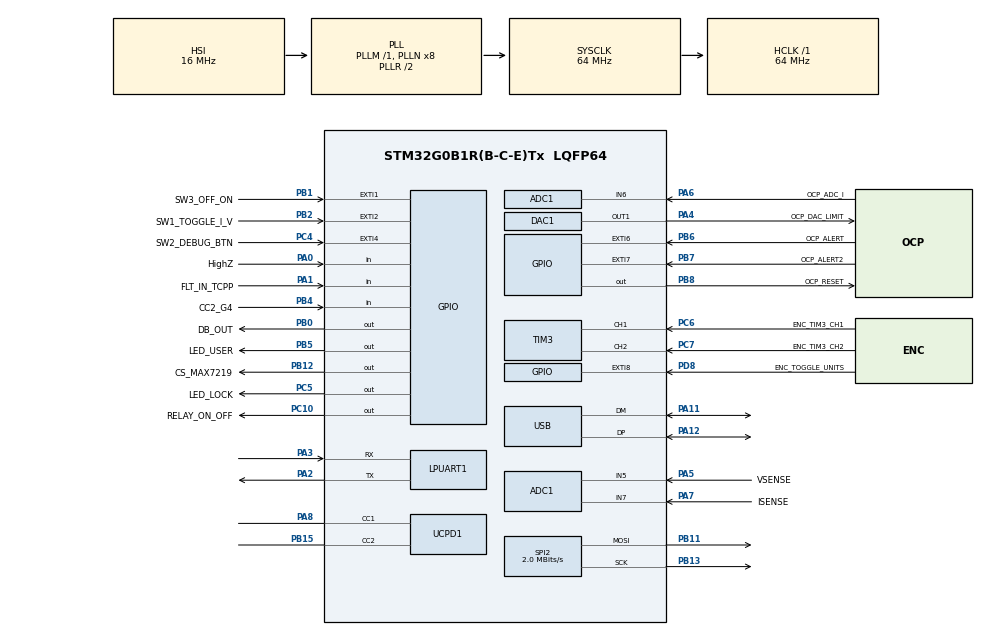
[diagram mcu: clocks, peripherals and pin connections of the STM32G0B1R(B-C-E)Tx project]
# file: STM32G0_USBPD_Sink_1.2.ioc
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ADC1.AWD2HighThreshold=1000
ADC1.AWD2ITMode=ENABLE
ADC1.AWDChannel-2\#ChannelRegularConversion=ADC_CHANNEL_7
ADC1.Channel-0\#ChannelRegularConversion=ADC_CHANNEL_5
ADC1.Channel-1\#ChannelRegularConversion=ADC_CHANNEL_6
ADC1.Channel-2\#ChannelRegularConversion=ADC_CHANNEL_7
ADC1.ClockPrescaler=ADC_CLOCK_SYNC_PCLK_DIV2
ADC1.ContinuousConvMode=DISABLE
ADC1.DMAContinuousRequests=ENABLE
ADC1.EOCSelection=ADC_EOC_SEQ_CONV
ADC1.EnableAnalogWatchDog1=false
ADC1.EnableAnalogWatchDog2=true
ADC1.EnableAnalogWatchDog3=false
ADC1.ExternalTrigConv=ADC_EXTERNALTRIG_T4_TRGO
ADC1.MonitoredBy-0\#ChannelRegularConversion=__NULL
ADC1.MonitoredBy-2\#ChannelRegularConversion=ADC_ANALOGWATCHDOG_2
ADC1.NbrOfConversion=3
ADC1.NbrOfConversionFlag=1
ADC1.Overrun=ADC_OVR_DATA_OVERWRITTEN
ADC1.Rank-0\#ChannelRegularConversion=1
ADC1.Rank-1\#ChannelRegularConversion=2
ADC1.Rank-2\#ChannelRegularConversion=3
ADC1.SamplingTime-0\#ChannelRegularConversion=ADC_SAMPLINGTIME_COMMON_1
ADC1.SamplingTime-1\#ChannelRegularConversion=ADC_SAMPLINGTIME_COMMON_1
ADC1.SamplingTime-2\#ChannelRegularConversion=ADC_SAMPLINGTIME_COMMON_1
ADC1.SamplingTimeCommon1=ADC_SAMPLETIME_160CYCLES_5
ADC1.SamplingTimeCommon2=ADC_SAMPLETIME_160CYCLES_5
ADC1.SelectedChannel=ADC_CHANNEL_5|ADC_CHANNEL_6|ADC_CHANNEL_7
ADC1.WDG2ChannelR3=ADC_CHANNEL_7
ADC1.master=1
DAC1.DAC_Channel-DAC_OUT1=DAC_CHANNEL_1
Dma.ADC1.3.Direction=DMA_PERIPH_TO_MEMORY
Dma.ADC1.3.EventEnable=DISABLE
Dma.ADC1.3.Instance=DMA1_Channel4
Dma.ADC1.3.MemDataAlignment=DMA_MDATAALIGN_HALFWORD
Dma.ADC1.3.MemInc=DMA_MINC_ENABLE
Dma.ADC1.3.Mode=DMA_CIRCULAR
Dma.ADC1.3.PeriphDataAlignment=DMA_PDATAALIGN_HALFWORD
Dma.ADC1.3.PeriphInc=DMA_PINC_DISABLE
Dma.ADC1.3.Polarity=HAL_DMAMUX_REQ_GEN_RISING
Dma.ADC1.3.Priority=DMA_PRIORITY_LOW
Dma.ADC1.3.RequestNumber=1
Dma.ADC1.3.SignalID=NONE
Dma.ADC1.3.SyncEnable=DISABLE
Dma.ADC1.3.SyncPolarity=HAL_DMAMUX_SYNC_NO_EVENT
Dma.ADC1.3.SyncRequestNumber=1
Dma.ADC1.3.SyncSignalID=NONE
Dma.LPUART1_TX.2.Direction=DMA_MEMORY_TO_PERIPH
Dma.LPUART1_TX.2.EventEnable=DISABLE
Dma.LPUART1_TX.2.Instance=DMA1_Channel3
Dma.LPUART1_TX.2.MemDataAlignment=DMA_MDATAALIGN_BYTE
Dma.LPUART1_TX.2.MemInc=DMA_MINC_ENABLE
Dma.LPUART1_TX.2.Mode=DMA_NORMAL
Dma.LPUART1_TX.2.PeriphDataAlignment=DMA_PDATAALIGN_BYTE
Dma.LPUART1_TX.2.PeriphInc=DMA_PINC_DISABLE
Dma.LPUART1_TX.2.Polarity=HAL_DMAMUX_REQ_GEN_RISING
Dma.LPUART1_TX.2.Priority=DMA_PRIORITY_LOW
Dma.LPUART1_TX.2.RequestNumber=1
Dma.LPUART1_TX.2.SignalID=NONE
Dma.LPUART1_TX.2.SyncEnable=DISABLE
Dma.LPUART1_TX.2.SyncPolarity=HAL_DMAMUX_SYNC_NO_EVENT
Dma.LPUART1_TX.2.SyncRequestNumber=1
Dma.LPUART1_TX.2.SyncSignalID=NONE
Dma.Request0=UCPD1_RX
Dma.Request1=UCPD1_TX
Dma.Request2=LPUART1_TX
Dma.Request3=ADC1
Dma.UCPD1_RX.0.Direction=DMA_PERIPH_TO_MEMORY
Dma.UCPD1_RX.0.EventEnable=DISABLE
Dma.UCPD1_RX.0.Instance=DMA1_Channel1
Dma.UCPD1_RX.0.MemDataAlignment=DMA_MDATAALIGN_BYTE
Dma.UCPD1_RX.0.MemInc=DMA_MINC_ENABLE
Dma.UCPD1_RX.0.Mode=DMA_NORMAL
Dma.UCPD1_RX.0.PeriphDataAlignment=DMA_PDATAALIGN_BYTE
Dma.UCPD1_RX.0.PeriphInc=DMA_PINC_DISABLE
Dma.UCPD1_RX.0.Polarity=HAL_DMAMUX_REQ_GEN_RISING
Dma.UCPD1_RX.0.Priority=DMA_PRIORITY_LOW
Dma.UCPD1_RX.0.RequestNumber=1
Dma.UCPD1_RX.0.SignalID=NONE
Dma.UCPD1_RX.0.SyncEnable=DISABLE
Dma.UCPD1_RX.0.SyncPolarity=HAL_DMAMUX_SYNC_NO_EVENT
Dma.UCPD1_RX.0.SyncRequestNumber=1
Dma.UCPD1_RX.0.SyncSignalID=NONE
Dma.UCPD1_TX.1.Direction=DMA_MEMORY_TO_PERIPH
Dma.UCPD1_TX.1.EventEnable=DISABLE
Dma.UCPD1_TX.1.Instance=DMA1_Channel2
Dma.UCPD1_TX.1.MemDataAlignment=DMA_MDATAALIGN_BYTE
Dma.UCPD1_TX.1.MemInc=DMA_MINC_ENABLE
Dma.UCPD1_TX.1.Mode=DMA_NORMAL
Dma.UCPD1_TX.1.PeriphDataAlignment=DMA_PDATAALIGN_BYTE
Dma.UCPD1_TX.1.PeriphInc=DMA_PINC_DISABLE
Dma.UCPD1_TX.1.Polarity=HAL_DMAMUX_REQ_GEN_RISING
Dma.UCPD1_TX.1.Priority=DMA_PRIORITY_LOW
Dma.UCPD1_TX.1.RequestNumber=1
Dma.UCPD1_TX.1.SignalID=NONE
Dma.UCPD1_TX.1.SyncEnable=DISABLE
Dma.UCPD1_TX.1.SyncPolarity=HAL_DMAMUX_SYNC_NO_EVENT
Dma.UCPD1_TX.1.SyncRequestNumber=1
Dma.UCPD1_TX.1.SyncSignalID=NONE
FREERTOS.INCLUDE_eTaskGetState=1
FREERTOS.Tasks01=defaultTask,24,128,StartDefaultTask,Default,NULL,Dynamic,NULL,NULL
FREERTOS.configTOTAL_HEAP_SIZE=7000
FREERTOS.configUSE_NEWLIB_REENTRANT=1
GUI_INTERFACE.HWBoardVersionName=G0_SNK1M1
GUI_INTERFACE.PDTypeName=MB1360
Mcu.Family=STM32G0
Mcu.Name=STM32G0B1R(B-C-E)Tx
Mcu.Package=LQFP64
Mcu.UserConstants=VDDA_APPLI,3300
NVIC.ADC1_COMP_IRQn=true\:3\:0\:true\:false\:true\:true\:true\:true\:true
NVIC.DMA1_Ch4_7_DMA2_Ch1_5_DMAMUX1_OVR_IRQn=true\:3\:0\:false\:false\:true\:true\:false\:true\:true
NVIC.DMA1_Channel1_IRQn=true\:3\:0\:false\:false\:true\:true\:false\:true\:true
NVIC.DMA1_Channel2_3_IRQn=true\:3\:0\:false\:false\:true\:true\:false\:true\:true
NVIC.EXTI0_1_IRQn=true\:3\:0\:false\:false\:true\:true\:true\:true\:true
NVIC.EXTI2_3_IRQn=true\:3\:0\:false\:false\:true\:true\:true\:true\:true
NVIC.EXTI4_15_IRQn=true\:3\:0\:false\:false\:true\:true\:true\:true\:true
NVIC.TIM14_IRQn=true\:3\:0\:false\:false\:true\:true\:true\:true\:true
NVIC.TIM15_IRQn=true\:3\:0\:false\:false\:true\:true\:true\:true\:true
NVIC.TIM3_TIM4_IRQn=true\:3\:0\:false\:false\:true\:true\:true\:true\:true
NVIC.TIM6_DAC_LPTIM1_IRQn=true\:3\:0\:false\:false\:true\:false\:false\:true\:true
NVIC.TIM7_LPTIM2_IRQn=true\:3\:0\:false\:false\:true\:true\:true\:true\:true
NVIC.TimeBase=TIM6_DAC_LPTIM1_IRQn
NVIC.TimeBaseIP=TIM6
NVIC.USART3_4_5_6_LPUART1_IRQn=true\:3\:0\:false\:false\:true\:true\:true\:true\:true
NVIC.USB_UCPD1_2_IRQn=true\:3\:0\:false\:false\:true\:true\:true\:true\:true
PA0.GPIO_Label=HighZ
PA0.Signal=GPIO_Input
PA1.GPIO_Label=FLT_IN_TCPP
PA1.Signal=GPIO_Input
PA11\ [PA9].Mode=Device
PA11\ [PA9].Signal=USB_DM
PA12\ [PA10].Mode=Device
PA12\ [PA10].Signal=USB_DP
PA13.Mode=Serial_Wire
PA13.Signal=SYS_SWDIO
PA14-BOOT0.Mode=Serial_Wire
PA14-BOOT0.Signal=SYS_SWCLK
PA2.Mode=Asynchronous
PA2.Signal=LPUART1_TX
PA3.Mode=Asynchronous
PA3.Signal=LPUART1_RX
PA4.GPIO_Label=OCP_DAC_LIMIT
PA4.Signal=COMP_DAC11_group
PA5.GPIO_Label=VSENSE
PA5.Mode=IN5
PA5.Signal=ADC1_IN5
PA6.GPIO_Label=OCP_ADC_I
PA6.Mode=IN6
PA6.Signal=ADC1_IN6
PA7.GPIO_Label=ISENSE
PA7.Mode=IN7
PA7.Signal=ADC1_IN7
PA8.Mode=Sink_AllSignals
PA8.Signal=UCPD1_CC1
PB0.GPIO_Label=DB_OUT
PB0.GPIO_PuPd=GPIO_PULLUP
PB0.PinState=GPIO_PIN_RESET
PB0.Signal=GPIO_Output
PB1.GPIO_Label=SW3_OFF_ON
PB1.GPIO_ModeDefaultEXTI=GPIO_MODE_IT_FALLING
PB1.GPIO_PuPd=GPIO_NOPULL
PB1.Signal=GPXTI1
PB11.Mode=TX_Only_Simplex_Unidirect_Master
PB11.Signal=SPI2_MOSI
PB12.GPIO_Label=CS_MAX7219
PB12.Signal=GPIO_Output
PB13.Mode=TX_Only_Simplex_Unidirect_Master
PB13.Signal=SPI2_SCK
PB15.Mode=Sink_AllSignals
PB15.Signal=UCPD1_CC2
PB2.GPIO_Label=SW1_TOGGLE_I_V
PB2.GPIO_ModeDefaultEXTI=GPIO_MODE_IT_RISING_FALLING
PB2.GPIO_PuPd=GPIO_PULLUP
PB2.Signal=GPXTI2
PB4.GPIO_Label=CC2_G4
PB4.Signal=GPIO_Input
PB5.GPIO_Label=LED_USER
PB5.GPIO_PuPd=GPIO_PULLUP
PB5.Signal=GPIO_Output
PB6.GPIO_Label=OCP_ALERT
PB6.GPIO_ModeDefaultEXTI=GPIO_MODE_IT_FALLING
PB6.Signal=GPXTI6
PB7.GPIO_Label=OCP_ALERT2
PB7.GPIO_ModeDefaultEXTI=GPIO_MODE_IT_FALLING
PB7.Signal=GPXTI7
PB8.GPIO_Label=OCP_RESET
PB8.PinState=GPIO_PIN_SET
PB8.Signal=GPIO_Output
PC10.GPIO_Label=RELAY_ON_OFF
PC10.Signal=GPIO_Output
PC4.GPIO_Label=SW2_DEBUG_BTN
PC4.GPIO_ModeDefaultEXTI=GPIO_MODE_IT_RISING_FALLING
PC4.GPIO_PuPd=GPIO_PULLUP
PC4.Signal=GPXTI4
PC5.GPIO_Label=LED_LOCK
PC5.GPIO_PuPd=GPIO_PULLUP
PC5.Signal=GPIO_Output
PC6.GPIO_Label=ENC_TIM3_CH1
PC6.Signal=S_TIM3_CH1
PC7.GPIO_Label=ENC_TIM3_CH2
PC7.Signal=S_TIM3_CH2
PD8.GPIO_Label=ENC_TOGGLE_UNITS
PD8.GPIO_ModeDefaultEXTI=GPIO_MODE_IT_RISING_FALLING
PD8.GPIO_PuPd=GPIO_PULLUP
PD8.Signal=GPXTI8
ProjectManager.HeapSize=0xC00
ProjectManager.StackSize=0x400
ProjectManager.TargetToolchain=STM32CubeIDE
RCC.ADCFreq_Value=64000000
RCC.AHBFreq_Value=64000000
RCC.CortexFreq_Value=64000000
RCC.EXTERNAL_CLOCK_VALUE=48000
RCC.HCLKFreq_Value=64000000
RCC.HSE_VALUE=16000000
RCC.HSI48_VALUE=48000000
RCC.HSI_VALUE=16000000
RCC.LSE_VALUE=32768
RCC.SYSCLKFreq_VALUE=64000000
RCC.SYSCLKSource=RCC_SYSCLKSOURCE_PLLCLK
RCC.USBFreq_Value=48000000
RCC.VCOOutputFreq_Value=128000000
SH.COMP_DAC11_group.0=DAC1_OUT1,DAC_OUT1
SH.S_TIM3_CH1.0=TIM3_CH1,Encoder_Interface
SH.S_TIM3_CH2.0=TIM3_CH2,Encoder_Interface
SPI2.BaudRatePrescaler=SPI_BAUDRATEPRESCALER_32
SPI2.CalculateBaudRate=2.0 MBits/s
SPI2.Direction=SPI_DIRECTION_2LINES
SPI2.Mode=SPI_MODE_MASTER
SPI2.VirtualType=VM_MASTER
TIM14.AutoReloadPreload=TIM_AUTORELOAD_PRELOAD_DISABLE
TIM14.Period=5
TIM14.Prescaler=63999
TIM15.AutoReloadPreload=TIM_AUTORELOAD_PRELOAD_DISABLE
TIM15.Period=1000
TIM15.Prescaler=64000-1
TIM3.AutoReloadPreload=TIM_AUTORELOAD_PRELOAD_ENABLE
TIM3.EncoderMode=TIM_ENCODERMODE_TI12
TIM3.IC1Filter=12
TIM3.IC1Prescaler=TIM_ICPSC_DIV1
TIM3.IC2Filter=12
TIM3.IC2Prescaler=TIM_ICPSC_DIV1
TIM4.Period=100-1
TIM4.Prescaler=64-1
TIM4.TIM_MasterOutputTrigger=TIM_TRGO_UPDATE
TIM4.TIM_MasterSlaveMode=TIM_MASTERSLAVEMODE_DISABLE
TIM7.AutoReloadPreload=TIM_AUTORELOAD_PRELOAD_DISABLE
TIM7.Period=200
TIM7.Prescaler=63999
USBPD.PORT0_NB_SINKPDO=3
USBPD.PORT0_SINK_PDO1=0x00019096
USBPD.PORT0_SINK_PDO2=0x0002D096
USBPD.PORT0_SINK_PDO3=0x0603C096
USB_DEVICE.CLASS_NAME_FS=CDC
USB_DEVICE.VirtualMode=Cdc
USB_DEVICE.VirtualModeFS=Cdc_FS
VP_FREERTOS_VS_CMSIS_V2.Mode=CMSIS_V2
VP_GUI_INTERFACE_VS_gui_interface.Mode=GUI_INTERFACE
VP_SYS_VS_DBSignals.Mode=DisableDeadBatterySignals
VP_SYS_VS_tim6.Mode=TIM6
VP_TIM14_VS_ClockSourceINT.Mode=Enable_Timer
VP_TIM14_VS_OPM.Mode=OPM_bit
VP_TIM15_VS_OPM.Mode=OPM_bit
VP_TIM4_VS_ClockSourceINT.Mode=Internal
VP_TIM7_VS_ClockSourceINT.Mode=Enable_Timer
VP_TIM7_VS_OPM.Mode=OPM_bit
VP_TRACER_EMB_VS_traceremb_lpuart1.Mode=TRACER_EMB_LPUART1
VP_USBPD_VS_PD3FULL.Mode=PD3_Full_Stack
VP_USBPD_VS_USBPD1.Mode=USBPD_P0
VP_USBPD_VS_usbpd_tim1.Mode=TIM1
VP_USBPD_VS_usbpd_traceremb.Mode=TRACER_EMB
VP_USBPD_VS_usbpd_usb_cohabitation.Mode=Enable USB Support
VP_USB_DEVICE_VS_USB_DEVICE_CDC_FS.Mode=CDC_FS
board=custom

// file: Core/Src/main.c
/* USER CODE BEGIN Header */
/**
  ******************************************************************************
  * @file           : main.c
  * @brief          : Main program body
  ******************************************************************************
  * @attention
  *
  * Copyright (c) 2024 STMicroelectronics.
  * All rights reserved.
  *
  * This software is licensed under terms that can be found in the LICENSE file
  * in the root directory of this software component.
  * If no LICENSE file comes with this software, it is provided AS-IS.
  *
  ******************************************************************************
  */
/* USER CODE END Header */
#include "main.h"
#include "cmsis_os.h"
#include "usbpd.h"
//#include "usb_device.h"

/* USER CODE BEGIN Includes */
#include <stdio.h>
#include <string.h>
#include <usbpd_trace.h>
#include <app.h>

/* USER CODE END Includes */

ADC_HandleTypeDef hadc1;
DMA_HandleTypeDef hdma_adc1;

DAC_HandleTypeDef hdac1;

SPI_HandleTypeDef hspi2;

TIM_HandleTypeDef htim3;
TIM_HandleTypeDef htim4;
TIM_HandleTypeDef htim15;

/* Definitions for defaultTask */
osThreadId_t defaultTaskHandle;
const osThreadAttr_t defaultTask_attributes = {
  .name = "defaultTask",
  .priority = (osPriority_t) osPriorityNormal,
  .stack_size = 128 * 4
};

void SystemClock_Config(void);
static void MX_GPIO_Init(void);
static void MX_DMA_Init(void);
static void MX_UCPD1_Init(void);
static void MX_ADC1_Init(void);
static void MX_LPUART1_UART_Init(void);
static void MX_TIM7_Init(void);
static void MX_SPI2_Init(void);
static void MX_TIM3_Init(void);
static void MX_DAC1_Init(void);
static void MX_TIM4_Init(void);
static void MX_TIM14_Init(void);
static void MX_TIM15_Init(void);
void StartDefaultTask(void *argument);

int main(void)
{

  /* MCU Configuration--------------------------------------------------------*/

  /* Reset of all peripherals, Initializes the Flash interface and the Systick. */
  HAL_Init();

  /* Configure the system clock */
  SystemClock_Config();

  /* Initialize all configured peripherals */
  MX_GPIO_Init();
  MX_DMA_Init();
  MX_UCPD1_Init();
  MX_ADC1_Init();
  MX_LPUART1_UART_Init();
  MX_TIM7_Init();
  MX_SPI2_Init();
  MX_TIM3_Init();
  MX_USB_Device_Init();
  MX_DAC1_Init();
  MX_TIM4_Init();
  MX_TIM14_Init();
  MX_TIM15_Init();
  /* USER CODE BEGIN 2 */
  app_init();
  /* USER CODE END 2 */

  /* Init scheduler */
  osKernelInitialize();
  /* USBPD initialisation ---------------------------------*/
  MX_USBPD_Init();

  /* USER CODE BEGIN RTOS_QUEUES */
  //app_freertos_create();
  /* USER CODE END RTOS_QUEUES */

  /* Create the thread(s) */
  /* creation of defaultTask */
  defaultTaskHandle = osThreadNew(StartDefaultTask, NULL, &defaultTask_attributes);

  /* Start scheduler */
  osKernelStart();

  /* We should never get here as control is now taken by the scheduler */
  /* Infinite loop */
  while (1)
  {

  }
}

void SystemClock_Config(void)
{
  RCC_OscInitTypeDef RCC_OscInitStruct = {0};
  RCC_ClkInitTypeDef RCC_ClkInitStruct = {0};

  /** Configure the main internal regulator output voltage
  */
  HAL_PWREx_ControlVoltageScaling(PWR_REGULATOR_VOLTAGE_SCALE1);

  /** Initializes the RCC Oscillators according to the specified parameters
  * in the RCC_OscInitTypeDef structure.
  */
  RCC_OscInitStruct.OscillatorType = RCC_OSCILLATORTYPE_HSI|RCC_OSCILLATORTYPE_HSI48;
  RCC_OscInitStruct.HSIState = RCC_HSI_ON;
  RCC_OscInitStruct.HSI48State = RCC_HSI48_ON;
  RCC_OscInitStruct.HSIDiv = RCC_HSI_DIV1;
  RCC_OscInitStruct.HSICalibrationValue = RCC_HSICALIBRATION_DEFAULT;
  RCC_OscInitStruct.PLL.PLLState = RCC_PLL_ON;
  RCC_OscInitStruct.PLL.PLLSource = RCC_PLLSOURCE_HSI;
  RCC_OscInitStruct.PLL.PLLM = RCC_PLLM_DIV1;
  RCC_OscInitStruct.PLL.PLLN = 8;
  RCC_OscInitStruct.PLL.PLLP = RCC_PLLP_DIV2;
  RCC_OscInitStruct.PLL.PLLQ = RCC_PLLQ_DIV2;
  RCC_OscInitStruct.PLL.PLLR = RCC_PLLR_DIV2;
  if (HAL_RCC_OscConfig(&RCC_OscInitStruct) != HAL_OK)
  {
    Error_Handler();
  }

  /** Initializes the CPU, AHB and APB buses clocks
  */
  RCC_ClkInitStruct.ClockType = RCC_CLOCKTYPE_HCLK|RCC_CLOCKTYPE_SYSCLK
                              |RCC_CLOCKTYPE_PCLK1;
  RCC_ClkInitStruct.SYSCLKSource = RCC_SYSCLKSOURCE_PLLCLK;
  RCC_ClkInitStruct.AHBCLKDivider = RCC_SYSCLK_DIV1;
  RCC_ClkInitStruct.APB1CLKDivider = RCC_HCLK_DIV1;

  if (HAL_RCC_ClockConfig(&RCC_ClkInitStruct, FLASH_LATENCY_2) != HAL_OK)
  {
    Error_Handler();
  }
}

static void MX_ADC1_Init(void)
{

  ADC_ChannelConfTypeDef sConfig = {0};
  ADC_AnalogWDGConfTypeDef AnalogWDGConfig = {0};

  /** Configure the global features of the ADC (Clock, Resolution, Data Alignment and number of conversion)
  */
  hadc1.Instance = ADC1;
  hadc1.Init.ClockPrescaler = ADC_CLOCK_SYNC_PCLK_DIV2;
  hadc1.Init.Resolution = ADC_RESOLUTION_12B;
  hadc1.Init.DataAlign = ADC_DATAALIGN_RIGHT;
  hadc1.Init.ScanConvMode = ADC_SCAN_ENABLE;
  hadc1.Init.EOCSelection = ADC_EOC_SEQ_CONV;
  hadc1.Init.LowPowerAutoWait = DISABLE;
  hadc1.Init.LowPowerAutoPowerOff = DISABLE;
  hadc1.Init.ContinuousConvMode = DISABLE;
  hadc1.Init.NbrOfConversion = 3;
  hadc1.Init.DiscontinuousConvMode = DISABLE;
  hadc1.Init.ExternalTrigConv = ADC_EXTERNALTRIG_T4_TRGO;
  hadc1.Init.ExternalTrigConvEdge = ADC_EXTERNALTRIGCONVEDGE_RISING;
  hadc1.Init.DMAContinuousRequests = ENABLE;
  hadc1.Init.Overrun = ADC_OVR_DATA_OVERWRITTEN;
  hadc1.Init.SamplingTimeCommon1 = ADC_SAMPLETIME_160CYCLES_5;
  hadc1.Init.SamplingTimeCommon2 = ADC_SAMPLETIME_160CYCLES_5;
  hadc1.Init.OversamplingMode = DISABLE;
  hadc1.Init.TriggerFrequencyMode = ADC_TRIGGER_FREQ_HIGH;
  if (HAL_ADC_Init(&hadc1) != HAL_OK)
  {
    Error_Handler();
  }

  /** Configure Regular Channel
  */
  sConfig.Channel = ADC_CHANNEL_5;
  sConfig.Rank = ADC_REGULAR_RANK_1;
  sConfig.SamplingTime = ADC_SAMPLINGTIME_COMMON_1;
  if (HAL_ADC_ConfigChannel(&hadc1, &sConfig) != HAL_OK)
  {
    Error_Handler();
  }

  /** Configure Regular Channel
  */
  sConfig.Channel = ADC_CHANNEL_6;
  sConfig.Rank = ADC_REGULAR_RANK_2;
  if (HAL_ADC_ConfigChannel(&hadc1, &sConfig) != HAL_OK)
  {
    Error_Handler();
  }

  /** Configure Regular Channel
  */
  sConfig.Channel = ADC_CHANNEL_7;
  sConfig.Rank = ADC_REGULAR_RANK_3;
  if (HAL_ADC_ConfigChannel(&hadc1, &sConfig) != HAL_OK)
  {
    Error_Handler();
  }

  /** Configure the regular channel to be monitored by WatchDog 2 or 3
  */
  AnalogWDGConfig.WatchdogNumber = ADC_ANALOGWATCHDOG_2;
  AnalogWDGConfig.WatchdogMode = ADC_ANALOGWATCHDOG_SINGLE_REG;
  AnalogWDGConfig.Channel = ADC_CHANNEL_7;
  AnalogWDGConfig.ITMode = ENABLE;
  AnalogWDGConfig.HighThreshold = 1500;
  AnalogWDGConfig.LowThreshold = 0;
  if (HAL_ADC_AnalogWDGConfig(&hadc1, &AnalogWDGConfig) != HAL_OK)
  {
    Error_Handler();
  }

}

static void MX_DAC1_Init(void)
{

  DAC_ChannelConfTypeDef sConfig = {0};

  /** DAC Initialization
  */
  hdac1.Instance = DAC1;
  if (HAL_DAC_Init(&hdac1) != HAL_OK)
  {
    Error_Handler();
  }

  /** DAC channel OUT1 config
  */
  sConfig.DAC_SampleAndHold = DAC_SAMPLEANDHOLD_DISABLE;
  sConfig.DAC_Trigger = DAC_TRIGGER_NONE;
  sConfig.DAC_OutputBuffer = DAC_OUTPUTBUFFER_ENABLE;
  sConfig.DAC_ConnectOnChipPeripheral = DAC_CHIPCONNECT_DISABLE;
  sConfig.DAC_UserTrimming = DAC_TRIMMING_FACTORY;
  if (HAL_DAC_ConfigChannel(&hdac1, &sConfig, DAC_CHANNEL_1) != HAL_OK)
  {
    Error_Handler();
  }

}

static void MX_LPUART1_UART_Init(void)
{

  LL_LPUART_InitTypeDef LPUART_InitStruct = {0};

  LL_GPIO_InitTypeDef GPIO_InitStruct = {0};
  RCC_PeriphCLKInitTypeDef PeriphClkInit = {0};

  /** Initializes the peripherals clocks
  */
  PeriphClkInit.PeriphClockSelection = RCC_PERIPHCLK_LPUART1;
  PeriphClkInit.Lpuart1ClockSelection = RCC_LPUART1CLKSOURCE_PCLK1;
  if (HAL_RCCEx_PeriphCLKConfig(&PeriphClkInit) != HAL_OK)
  {
    Error_Handler();
  }

  /* Peripheral clock enable */
  LL_APB1_GRP1_EnableClock(LL_APB1_GRP1_PERIPH_LPUART1);

  LL_IOP_GRP1_EnableClock(LL_IOP_GRP1_PERIPH_GPIOA);
  /**LPUART1 GPIO Configuration
  PA2   ------> LPUART1_TX
  PA3   ------> LPUART1_RX
  */
  GPIO_InitStruct.Pin = LL_GPIO_PIN_2;
  GPIO_InitStruct.Mode = LL_GPIO_MODE_ALTERNATE;
  GPIO_InitStruct.Speed = LL_GPIO_SPEED_FREQ_LOW;
  GPIO_InitStruct.OutputType = LL_GPIO_OUTPUT_PUSHPULL;
  GPIO_InitStruct.Pull = LL_GPIO_PULL_NO;
  GPIO_InitStruct.Alternate = LL_GPIO_AF_6;
  LL_GPIO_Init(GPIOA, &GPIO_InitStruct);

  GPIO_InitStruct.Pin = LL_GPIO_PIN_3;
  GPIO_InitStruct.Mode = LL_GPIO_MODE_ALTERNATE;
  GPIO_InitStruct.Speed = LL_GPIO_SPEED_FREQ_LOW;
  GPIO_InitStruct.OutputType = LL_GPIO_OUTPUT_PUSHPULL;
  GPIO_InitStruct.Pull = LL_GPIO_PULL_NO;
  GPIO_InitStruct.Alternate = LL_GPIO_AF_6;
  LL_GPIO_Init(GPIOA, &GPIO_InitStruct);

  /* LPUART1 DMA Init */

  /* LPUART1_TX Init */
  LL_DMA_SetPeriphRequest(DMA1, LL_DMA_CHANNEL_3, LL_DMAMUX_REQ_LPUART1_TX);

  LL_DMA_SetDataTransferDirection(DMA1, LL_DMA_CHANNEL_3, LL_DMA_DIRECTION_MEMORY_TO_PERIPH);

  LL_DMA_SetChannelPriorityLevel(DMA1, LL_DMA_CHANNEL_3, LL_DMA_PRIORITY_LOW);

  LL_DMA_SetMode(DMA1, LL_DMA_CHANNEL_3, LL_DMA_MODE_NORMAL);

  LL_DMA_SetPeriphIncMode(DMA1, LL_DMA_CHANNEL_3, LL_DMA_PERIPH_NOINCREMENT);

  LL_DMA_SetMemoryIncMode(DMA1, LL_DMA_CHANNEL_3, LL_DMA_MEMORY_INCREMENT);

  LL_DMA_SetPeriphSize(DMA1, LL_DMA_CHANNEL_3, LL_DMA_PDATAALIGN_BYTE);

  LL_DMA_SetMemorySize(DMA1, LL_DMA_CHANNEL_3, LL_DMA_MDATAALIGN_BYTE);

  /* LPUART1 interrupt Init */
  NVIC_SetPriority(USART3_4_5_6_LPUART1_IRQn, 3);
  NVIC_EnableIRQ(USART3_4_5_6_LPUART1_IRQn);

  LPUART_InitStruct.PrescalerValue = LL_LPUART_PRESCALER_DIV1;
  LPUART_InitStruct.BaudRate = 921600;
  LPUART_InitStruct.DataWidth = LL_LPUART_DATAWIDTH_7B;
  LPUART_InitStruct.StopBits = LL_LPUART_STOPBITS_1;
  LPUART_InitStruct.Parity = LL_LPUART_PARITY_NONE;
  LPUART_InitStruct.TransferDirection = LL_LPUART_DIRECTION_TX_RX;
  LPUART_InitStruct.HardwareFlowControl = LL_LPUART_HWCONTROL_NONE;
  LL_LPUART_Init(LPUART1, &LPUART_InitStruct);
  LL_LPUART_SetTXFIFOThreshold(LPUART1, LL_LPUART_FIFOTHRESHOLD_1_8);
  LL_LPUART_SetRXFIFOThreshold(LPUART1, LL_LPUART_FIFOTHRESHOLD_1_8);
  LL_LPUART_DisableFIFO(LPUART1);

  LL_LPUART_Enable(LPUART1);

  /* Polling LPUART1 initialisation */
  while((!(LL_LPUART_IsActiveFlag_TEACK(LPUART1))) || (!(LL_LPUART_IsActiveFlag_REACK(LPUART1))))
  {
  }
  /* USER CODE BEGIN LPUART1_Init 2 */
  LL_LPUART_EnableIT_RXNE_RXFNE(LPUART1);
  /* USER CODE END LPUART1_Init 2 */

}

static void MX_SPI2_Init(void)
{

  /* SPI2 parameter configuration*/
  hspi2.Instance = SPI2;
  hspi2.Init.Mode = SPI_MODE_MASTER;
  hspi2.Init.Direction = SPI_DIRECTION_2LINES;
  hspi2.Init.DataSize = SPI_DATASIZE_8BIT;
  hspi2.Init.CLKPolarity = SPI_POLARITY_LOW;
  hspi2.Init.CLKPhase = SPI_PHASE_1EDGE;
  hspi2.Init.NSS = SPI_NSS_SOFT;
  hspi2.Init.BaudRatePrescaler = SPI_BAUDRATEPRESCALER_32;
  hspi2.Init.FirstBit = SPI_FIRSTBIT_MSB;
  hspi2.Init.TIMode = SPI_TIMODE_DISABLE;
  hspi2.Init.CRCCalculation = SPI_CRCCALCULATION_DISABLE;
  hspi2.Init.CRCPolynomial = 7;
  hspi2.Init.CRCLength = SPI_CRC_LENGTH_DATASIZE;
  hspi2.Init.NSSPMode = SPI_NSS_PULSE_ENABLE;
  if (HAL_SPI_Init(&hspi2) != HAL_OK)
  {
    Error_Handler();
  }

}

static void MX_TIM3_Init(void)
{

  TIM_Encoder_InitTypeDef sConfig = {0};
  TIM_MasterConfigTypeDef sMasterConfig = {0};

  htim3.Instance = TIM3;
  htim3.Init.Prescaler = 0;
  htim3.Init.CounterMode = TIM_COUNTERMODE_UP;
  htim3.Init.Period = 65535;
  htim3.Init.ClockDivision = TIM_CLOCKDIVISION_DIV1;
  htim3.Init.AutoReloadPreload = TIM_AUTORELOAD_PRELOAD_ENABLE;
  sConfig.EncoderMode = TIM_ENCODERMODE_TI12;
  sConfig.IC1Polarity = TIM_ICPOLARITY_RISING;
  sConfig.IC1Selection = TIM_ICSELECTION_DIRECTTI;
  sConfig.IC1Prescaler = TIM_ICPSC_DIV1;
  sConfig.IC1Filter = 12;
  sConfig.IC2Polarity = TIM_ICPOLARITY_RISING;
  sConfig.IC2Selection = TIM_ICSELECTION_DIRECTTI;
  sConfig.IC2Prescaler = TIM_ICPSC_DIV1;
  sConfig.IC2Filter = 12;
  if (HAL_TIM_Encoder_Init(&htim3, &sConfig) != HAL_OK)
  {
    Error_Handler();
  }
  sMasterConfig.MasterOutputTrigger = TIM_TRGO_RESET;
  sMasterConfig.MasterSlaveMode = TIM_MASTERSLAVEMODE_DISABLE;
  if (HAL_TIMEx_MasterConfigSynchronization(&htim3, &sMasterConfig) != HAL_OK)
  {
    Error_Handler();
  }

}

static void MX_TIM4_Init(void)
{

  TIM_ClockConfigTypeDef sClockSourceConfig = {0};
  TIM_MasterConfigTypeDef sMasterConfig = {0};

  htim4.Instance = TIM4;
  htim4.Init.Prescaler = 64-1;
  htim4.Init.CounterMode = TIM_COUNTERMODE_UP;
  htim4.Init.Period = 100-1;
  htim4.Init.ClockDivision = TIM_CLOCKDIVISION_DIV1;
  htim4.Init.AutoReloadPreload = TIM_AUTORELOAD_PRELOAD_DISABLE;
  if (HAL_TIM_Base_Init(&htim4) != HAL_OK)
  {
    Error_Handler();
  }
  sClockSourceConfig.ClockSource = TIM_CLOCKSOURCE_INTERNAL;
  if (HAL_TIM_ConfigClockSource(&htim4, &sClockSourceConfig) != HAL_OK)
  {
    Error_Handler();
  }
  sMasterConfig.MasterOutputTrigger = TIM_TRGO_UPDATE;
  sMasterConfig.MasterSlaveMode = TIM_MASTERSLAVEMODE_DISABLE;
  if (HAL_TIMEx_MasterConfigSynchronization(&htim4, &sMasterConfig) != HAL_OK)
  {
    Error_Handler();
  }

}

static void MX_TIM7_Init(void)
{

  LL_TIM_InitTypeDef TIM_InitStruct = {0};

  /* Peripheral clock enable */
  LL_APB1_GRP1_EnableClock(LL_APB1_GRP1_PERIPH_TIM7);

  /* TIM7 interrupt Init */
  NVIC_SetPriority(TIM7_LPTIM2_IRQn, 3);
  NVIC_EnableIRQ(TIM7_LPTIM2_IRQn);

  TIM_InitStruct.Prescaler = 63999;
  TIM_InitStruct.CounterMode = LL_TIM_COUNTERMODE_UP;
  TIM_InitStruct.Autoreload = 200;
  LL_TIM_Init(TIM7, &TIM_InitStruct);
  LL_TIM_DisableARRPreload(TIM7);
  LL_TIM_SetOnePulseMode(TIM7, LL_TIM_ONEPULSEMODE_SINGLE);
  LL_TIM_SetTriggerOutput(TIM7, LL_TIM_TRGO_RESET);
  LL_TIM_DisableMasterSlaveMode(TIM7);

}

static void MX_TIM14_Init(void)
{

  LL_TIM_InitTypeDef TIM_InitStruct = {0};

  /* Peripheral clock enable */
  LL_APB2_GRP1_EnableClock(LL_APB2_GRP1_PERIPH_TIM14);

  /* TIM14 interrupt Init */
  NVIC_SetPriority(TIM14_IRQn, 3);
  NVIC_EnableIRQ(TIM14_IRQn);

  TIM_InitStruct.Prescaler = 63999;
  TIM_InitStruct.CounterMode = LL_TIM_COUNTERMODE_UP;
  TIM_InitStruct.Autoreload = 5;
  TIM_InitStruct.ClockDivision = LL_TIM_CLOCKDIVISION_DIV1;
  LL_TIM_Init(TIM14, &TIM_InitStruct);
  LL_TIM_DisableARRPreload(TIM14);
  LL_TIM_SetOnePulseMode(TIM14, LL_TIM_ONEPULSEMODE_SINGLE);

}

static void MX_TIM15_Init(void)
{

  TIM_MasterConfigTypeDef sMasterConfig = {0};

  htim15.Instance = TIM15;
  htim15.Init.Prescaler = 64000-1;
  htim15.Init.CounterMode = TIM_COUNTERMODE_UP;
  htim15.Init.Period = 1000;
  htim15.Init.ClockDivision = TIM_CLOCKDIVISION_DIV1;
  htim15.Init.RepetitionCounter = 0;
  htim15.Init.AutoReloadPreload = TIM_AUTORELOAD_PRELOAD_DISABLE;
  if (HAL_TIM_OnePulse_Init(&htim15, TIM_OPMODE_SINGLE) != HAL_OK)
  {
    Error_Handler();
  }
  sMasterConfig.MasterOutputTrigger = TIM_TRGO_RESET;
  sMasterConfig.MasterSlaveMode = TIM_MASTERSLAVEMODE_DISABLE;
  if (HAL_TIMEx_MasterConfigSynchronization(&htim15, &sMasterConfig) != HAL_OK)
  {
    Error_Handler();
  }

}

static void MX_UCPD1_Init(void)
{

  LL_GPIO_InitTypeDef GPIO_InitStruct = {0};

  /* Peripheral clock enable */
  LL_APB1_GRP1_EnableClock(LL_APB1_GRP1_PERIPH_UCPD1);

  LL_IOP_GRP1_EnableClock(LL_IOP_GRP1_PERIPH_GPIOB);
  LL_IOP_GRP1_EnableClock(LL_IOP_GRP1_PERIPH_GPIOA);
  /**UCPD1 GPIO Configuration
  PB15   ------> UCPD1_CC2
  PA8   ------> UCPD1_CC1
  */
  GPIO_InitStruct.Pin = LL_GPIO_PIN_15;
  GPIO_InitStruct.Mode = LL_GPIO_MODE_ANALOG;
  GPIO_InitStruct.Pull = LL_GPIO_PULL_NO;
  LL_GPIO_Init(GPIOB, &GPIO_InitStruct);

  GPIO_InitStruct.Pin = LL_GPIO_PIN_8;
  GPIO_InitStruct.Mode = LL_GPIO_MODE_ANALOG;
  GPIO_InitStruct.Pull = LL_GPIO_PULL_NO;
  LL_GPIO_Init(GPIOA, &GPIO_InitStruct);

  /* UCPD1 DMA Init */

  /* UCPD1_RX Init */
  LL_DMA_SetPeriphRequest(DMA1, LL_DMA_CHANNEL_1, LL_DMAMUX_REQ_UCPD1_RX);

  LL_DMA_SetDataTransferDirection(DMA1, LL_DMA_CHANNEL_1, LL_DMA_DIRECTION_PERIPH_TO_MEMORY);

  LL_DMA_SetChannelPriorityLevel(DMA1, LL_DMA_CHANNEL_1, LL_DMA_PRIORITY_LOW);

  LL_DMA_SetMode(DMA1, LL_DMA_CHANNEL_1, LL_DMA_MODE_NORMAL);

  LL_DMA_SetPeriphIncMode(DMA1, LL_DMA_CHANNEL_1, LL_DMA_PERIPH_NOINCREMENT);

  LL_DMA_SetMemoryIncMode(DMA1, LL_DMA_CHANNEL_1, LL_DMA_MEMORY_INCREMENT);

  LL_DMA_SetPeriphSize(DMA1, LL_DMA_CHANNEL_1, LL_DMA_PDATAALIGN_BYTE);

  LL_DMA_SetMemorySize(DMA1, LL_DMA_CHANNEL_1, LL_DMA_MDATAALIGN_BYTE);

  /* UCPD1_TX Init */
  LL_DMA_SetPeriphRequest(DMA1, LL_DMA_CHANNEL_2, LL_DMAMUX_REQ_UCPD1_TX);

  LL_DMA_SetDataTransferDirection(DMA1, LL_DMA_CHANNEL_2, LL_DMA_DIRECTION_MEMORY_TO_PERIPH);

  LL_DMA_SetChannelPriorityLevel(DMA1, LL_DMA_CHANNEL_2, LL_DMA_PRIORITY_LOW);

  LL_DMA_SetMode(DMA1, LL_DMA_CHANNEL_2, LL_DMA_MODE_NORMAL);

  LL_DMA_SetPeriphIncMode(DMA1, LL_DMA_CHANNEL_2, LL_DMA_PERIPH_NOINCREMENT);

  LL_DMA_SetMemoryIncMode(DMA1, LL_DMA_CHANNEL_2, LL_DMA_MEMORY_INCREMENT);

  LL_DMA_SetPeriphSize(DMA1, LL_DMA_CHANNEL_2, LL_DMA_PDATAALIGN_BYTE);

  LL_DMA_SetMemorySize(DMA1, LL_DMA_CHANNEL_2, LL_DMA_MDATAALIGN_BYTE);

  /* UCPD1 interrupt Init */
  NVIC_SetPriority(USB_UCPD1_2_IRQn, 3);
  NVIC_EnableIRQ(USB_UCPD1_2_IRQn);

}

static void MX_DMA_Init(void)
{

  /* DMA controller clock enable */
  __HAL_RCC_DMA1_CLK_ENABLE();

  /* DMA interrupt init */
  /* DMA1_Channel1_IRQn interrupt configuration */
  NVIC_SetPriority(DMA1_Channel1_IRQn, 3);
  NVIC_EnableIRQ(DMA1_Channel1_IRQn);
  /* DMA1_Channel2_3_IRQn interrupt configuration */
  NVIC_SetPriority(DMA1_Channel2_3_IRQn, 3);
  NVIC_EnableIRQ(DMA1_Channel2_3_IRQn);
  /* DMA1_Ch4_7_DMA2_Ch1_5_DMAMUX1_OVR_IRQn interrupt configuration */
  HAL_NVIC_SetPriority(DMA1_Ch4_7_DMA2_Ch1_5_DMAMUX1_OVR_IRQn, 3, 0);
  HAL_NVIC_EnableIRQ(DMA1_Ch4_7_DMA2_Ch1_5_DMAMUX1_OVR_IRQn);

}

static void MX_GPIO_Init(void)
{
  GPIO_InitTypeDef GPIO_InitStruct = {0};

  /* GPIO Ports Clock Enable */
  __HAL_RCC_GPIOA_CLK_ENABLE();
  __HAL_RCC_GPIOC_CLK_ENABLE();
  __HAL_RCC_GPIOB_CLK_ENABLE();
  __HAL_RCC_GPIOD_CLK_ENABLE();

  /*Configure GPIO pin Output Level */
  HAL_GPIO_WritePin(GPIOC, LED_LOCK_Pin|RELAY_ON_OFF_Pin, GPIO_PIN_RESET);

  /*Configure GPIO pin Output Level */
  HAL_GPIO_WritePin(GPIOB, DB_OUT_Pin|CS_MAX7219_Pin|LED_USER_Pin, GPIO_PIN_RESET);

  /*Configure GPIO pin Output Level */
  HAL_GPIO_WritePin(OCP_RESET_GPIO_Port, OCP_RESET_Pin, GPIO_PIN_SET);

  /*Configure GPIO pins : HighZ_Pin FLT_IN_TCPP_Pin */
  GPIO_InitStruct.Pin = HighZ_Pin|FLT_IN_TCPP_Pin;
  GPIO_InitStruct.Mode = GPIO_MODE_INPUT;
  GPIO_InitStruct.Pull = GPIO_NOPULL;
  HAL_GPIO_Init(GPIOA, &GPIO_InitStruct);

  /*Configure GPIO pin : SW2_DEBUG_BTN_Pin */
  GPIO_InitStruct.Pin = SW2_DEBUG_BTN_Pin;
  GPIO_InitStruct.Mode = GPIO_MODE_IT_RISING_FALLING;
  GPIO_InitStruct.Pull = GPIO_PULLUP;
  HAL_GPIO_Init(SW2_DEBUG_BTN_GPIO_Port, &GPIO_InitStruct);

  /*Configure GPIO pin : LED_LOCK_Pin */
  GPIO_InitStruct.Pin = LED_LOCK_Pin;
  GPIO_InitStruct.Mode = GPIO_MODE_OUTPUT_PP;
  GPIO_InitStruct.Pull = GPIO_PULLUP;
  GPIO_InitStruct.Speed = GPIO_SPEED_FREQ_LOW;
  HAL_GPIO_Init(LED_LOCK_GPIO_Port, &GPIO_InitStruct);

  /*Configure GPIO pins : DB_OUT_Pin LED_USER_Pin */
  GPIO_InitStruct.Pin = DB_OUT_Pin|LED_USER_Pin;
  GPIO_InitStruct.Mode = GPIO_MODE_OUTPUT_PP;
  GPIO_InitStruct.Pull = GPIO_PULLUP;
  GPIO_InitStruct.Speed = GPIO_SPEED_FREQ_LOW;
  HAL_GPIO_Init(GPIOB, &GPIO_InitStruct);

  /*Configure GPIO pins : SW3_OFF_ON_Pin OCP_ALERT_Pin OCP_ALERT2_Pin */
  GPIO_InitStruct.Pin = SW3_OFF_ON_Pin|OCP_ALERT_Pin|OCP_ALERT2_Pin;
  GPIO_InitStruct.Mode = GPIO_MODE_IT_FALLING;
  GPIO_InitStruct.Pull = GPIO_NOPULL;
  HAL_GPIO_Init(GPIOB, &GPIO_InitStruct);

  /*Configure GPIO pin : SW1_TOGGLE_I_V_Pin */
  GPIO_InitStruct.Pin = SW1_TOGGLE_I_V_Pin;
  GPIO_InitStruct.Mode = GPIO_MODE_IT_RISING_FALLING;
  GPIO_InitStruct.Pull = GPIO_PULLUP;
  HAL_GPIO_Init(SW1_TOGGLE_I_V_GPIO_Port, &GPIO_InitStruct);

  /*Configure GPIO pins : CS_MAX7219_Pin OCP_RESET_Pin */
  GPIO_InitStruct.Pin = CS_MAX7219_Pin|OCP_RESET_Pin;
  GPIO_InitStruct.Mode = GPIO_MODE_OUTPUT_PP;
  GPIO_InitStruct.Pull = GPIO_NOPULL;
  GPIO_InitStruct.Speed = GPIO_SPEED_FREQ_LOW;
  HAL_GPIO_Init(GPIOB, &GPIO_InitStruct);

  /*Configure GPIO pin : ENC_TOGGLE_UNITS_Pin */
  GPIO_InitStruct.Pin = ENC_TOGGLE_UNITS_Pin;
  GPIO_InitStruct.Mode = GPIO_MODE_IT_RISING_FALLING;
  GPIO_InitStruct.Pull = GPIO_PULLUP;
  HAL_GPIO_Init(ENC_TOGGLE_UNITS_GPIO_Port, &GPIO_InitStruct);

  /*Configure GPIO pin : CC2_G4_Pin */
  GPIO_InitStruct.Pin = CC2_G4_Pin;
  GPIO_InitStruct.Mode = GPIO_MODE_INPUT;
  GPIO_InitStruct.Pull = GPIO_NOPULL;
  HAL_GPIO_Init(CC2_G4_GPIO_Port, &GPIO_InitStruct);

  /*Configure GPIO pin : RELAY_ON_OFF_Pin */
  GPIO_InitStruct.Pin = RELAY_ON_OFF_Pin;
  GPIO_InitStruct.Mode = GPIO_MODE_OUTPUT_PP;
  GPIO_InitStruct.Pull = GPIO_NOPULL;
  GPIO_InitStruct.Speed = GPIO_SPEED_FREQ_LOW;
  HAL_GPIO_Init(RELAY_ON_OFF_GPIO_Port, &GPIO_InitStruct);

  /* EXTI interrupt init*/
  HAL_NVIC_SetPriority(EXTI0_1_IRQn, 3, 0);
  HAL_NVIC_EnableIRQ(EXTI0_1_IRQn);

  HAL_NVIC_SetPriority(EXTI2_3_IRQn, 3, 0);
  HAL_NVIC_EnableIRQ(EXTI2_3_IRQn);

  HAL_NVIC_SetPriority(EXTI4_15_IRQn, 3, 0);
  HAL_NVIC_EnableIRQ(EXTI4_15_IRQn);

}

void StartDefaultTask(void *argument)
{
  /* USER CODE BEGIN 5 */
  /* Infinite loop */
  for(;;)
  {
    osDelay(1);
    app_loop();
  }
  /* USER CODE END 5 */
}

void HAL_TIM_PeriodElapsedCallback(TIM_HandleTypeDef *htim)
{
  if (htim->Instance == TIM6) {
    HAL_IncTick();
  }
  /* USER CODE BEGIN Callback 1 */
  USBPD_DPM_TimerCounter(); //related to PD device manager
  GUI_TimerCounter(); //updating a graphical user interface (GUI) based on timer events.
  /* USER CODE END Callback 1 */
}

void Error_Handler(void)
{
  __disable_irq();
  while (1)
  {
  }
}

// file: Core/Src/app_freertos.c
/* USER CODE BEGIN Header */
/**
  ******************************************************************************
  * File Name          : app_freertos.c
  * Description        : Code for freertos applications
  ******************************************************************************
  * @attention
  *
  * Copyright (c) 2024 STMicroelectronics.
  * All rights reserved.
  *
  * This software is licensed under terms that can be found in the LICENSE file
  * in the root directory of this software component.
  * If no LICENSE file comes with this software, it is provided AS-IS.
  *
  ******************************************************************************
  */
/* USER CODE END Header */

#include "FreeRTOS.h"
#include "task.h"
#include "main.h"

/* USER CODE BEGIN Includes */
#include "max7219.h"
#include "cmsis_os2.h"
/* USER CODE END Includes */

/* USER CODE BEGIN PD */

typedef struct {
	MAX7219_EventType event;    	     // Type of event
    MAX7219_Segments segment;		     // Segment number
    int32_t value;         			     // Numeric value (e.g., voltage, current)
    MAX7219_DecimalPoint decimal_pos;    // Decimal point position
} DISPMessage_t;

#define DISP_QUEUE_MESSAGE_MAX_SIZE      sizeof(DISPMessage_t)
#define DISP_QUEUE_PRIORITY              osPriorityLow
#define DISP_QUEUE_SIZE            		 50

/* Definitions for Receiver */
osThreadId_t DISPReceiveMsg;
const osThreadAttr_t DISPReceiveMsg_attributes = {
  .name = "DISPReceiveMsg",
  .priority = (osPriority_t) osPriorityLow,
  .stack_size = 256 * 4
};

osMessageQueueId_t DISPQueue;
const osMessageQueueAttr_t DISPQueue_attributes = {
  .name = "DISPQueue"
};

/* USER CODE END PD */

/* USER CODE BEGIN FunctionPrototypes */
void DISPReceiverTask(void * argument);

void app_freertos_create() {
    /* Create Message Queue */
    DISPQueue = osMessageQueueNew(DISP_QUEUE_SIZE, DISP_QUEUE_MESSAGE_MAX_SIZE, &DISPQueue_attributes);

    /* Create Receiver Task */
    DISPReceiveMsg = osThreadNew(DISPReceiverTask, DISPQueue, &DISPReceiveMsg_attributes); // second argument is queue handle
}

void DISPReceiverTask(void *argument) {
    osMessageQueueId_t queue = (osMessageQueueId_t) argument; // Cast to correct type
    DISPMessage_t msg;

    for (;;) {
        if (osMessageQueueGet(queue, &msg, NULL, osWaitForever) == osOK) {
            // Process received message
            // Example: Update display based on received message
            //max7219_PrintIspecial(msg.segment, msg.value, msg.decimal_pos);
        }
        osDelay(200); // Adjust delay as needed
    }
}

/* USER CODE END FunctionPrototypes */
